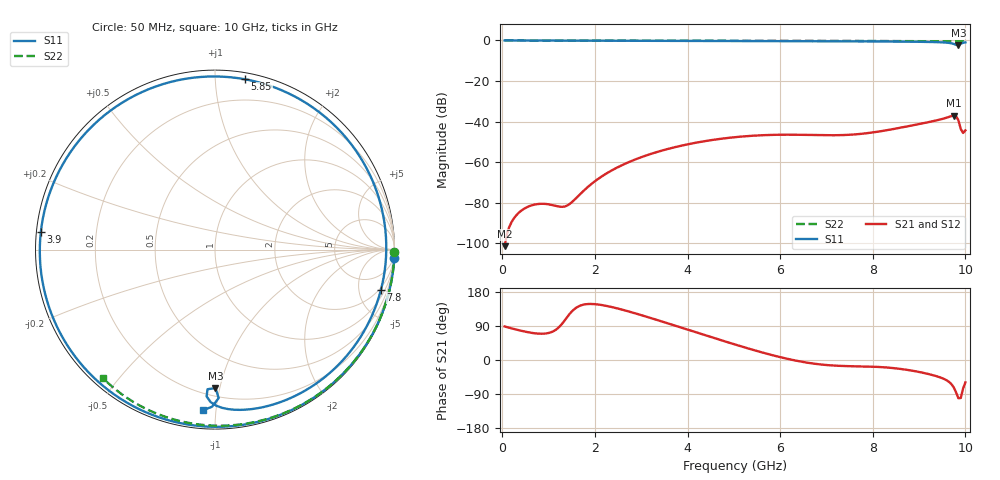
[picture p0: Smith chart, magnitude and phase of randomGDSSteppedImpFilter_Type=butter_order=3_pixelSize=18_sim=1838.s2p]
! freq	dB(S11)	phase(S11)	dB(S12)	phase(S12)
!  dB(S21)	phase(S21)	dB(S22)	phase(S22)
!S-par simulation data
#  GHz  S  DB  R 50
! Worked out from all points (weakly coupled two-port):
!   200 points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, 50 MHz to 10 GHz, reference 50 ohm
!   highest |S21| = -37.01 dB at 9.75 GHz (marker M1); lowest = -101.4 dB at 50 MHz (marker M2)
!   lowest |S11| = -2.3 dB at 9.85 GHz (marker M3), VSWR 7.75, Z = 12.7 - j48.5 ohm
!   |S11| at or under -10 dB: nowhere
!   |S22| runs from -0.4 to 0.0 dB; largest |S21 - S12| = 0
!   S11 on the Smith chart (normalised r, x): 50 MHz: 0, -44; 3.9 GHz: 0.01, +0.05; 5.85 GHz: 0.04, +1.19; 7.8 GHz: 1.68, -7.97; 10 GHz: 0.10, -0.92
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0.05  -0.00 -2.6  -101.44 88.6  -101.44 88.6  -0.00 -0.8
0.7  -0.05 -35.9  -80.92 70.5  -80.92 70.5  -0.01 -10.6
1.45  -0.09 -73.1  -80.72 121.0  -80.72 121.0  -0.03 -21.8
1.75  -0.11 -87.5  -74.26 146.0  -74.26 146.0  -0.03 -26.2
2.5  -0.14 -122.4  -62.43 135.7  -62.43 135.7  -0.05 -37.1
3.4  -0.19 -163.2  -54.61 103.4  -54.61 103.4  -0.07 -49.9
3.9  -0.22 174.1  -51.72 84.1  -51.72 84.1  -0.08 -56.8
4.45  -0.25 148.5  -49.37 62.8  -49.37 62.8  -0.09 -64.2
5.05  -0.28 119.7  -47.63 40.0  -47.63 40.0  -0.11 -72.2
5.45  -0.30 100.0  -46.92 25.5  -46.92 25.5  -0.12 -77.4
5.85  -0.32 80.0  -46.55 12.2  -46.55 12.2  -0.14 -82.4
6.7  -0.36 37.6  -46.63 -9.2  -46.63 -9.2  -0.18 -93.0
7.25  -0.39 11.3  -46.71 -15.3  -46.71 -15.3  -0.21 -99.6
7.8  -0.43 -13.7  -45.93 -16.9  -45.93 -16.9  -0.25 -106.1
8.35  -0.51 -37.1  -44.07 -20.3  -44.07 -20.3  -0.29 -112.5
9.15  -0.70 -69.1  -40.53 -35.5  -40.53 -35.5  -0.36 -121.7
9.55  -0.99 -85.2  -38.39 -50.6  -38.39 -50.6  -0.40 -126.2
9.75  -1.73 -93.3  -37.01 -72.6  -37.01 -72.6  -0.42 -128.4
9.85  -2.25 -89.8  -39.44 -100.9  -39.44 -100.9  -0.43 -129.5
9.9  -1.65 -88.6  -43.66 -100.2  -43.66 -100.2  -0.43 -130.1
9.95  -1.15 -91.1  -45.61 -75.3  -45.61 -75.3  -0.44 -130.7
10  -0.94 -94.3  -44.32 -59.1  -44.32 -59.1  -0.44 -131.2
